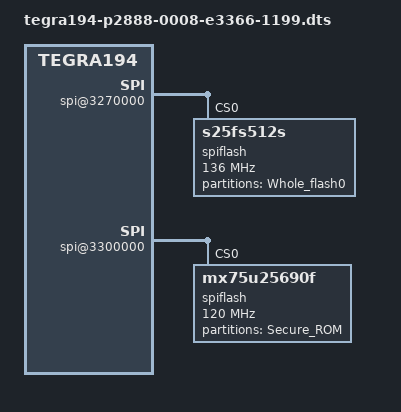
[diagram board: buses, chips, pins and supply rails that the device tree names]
/*
 * Top level DTS file for CVM:P2888-0008 and CVB:E3366-1199
 *
 * Copyright (c) 2020, NVIDIA CORPORATION.  All rights reserved.
 *
 * This program is free software; you can redistribute it and/or modify
 * it under the terms of the GNU General Public License as published by
 * the Free Software Foundation; version 2 of the License.
 *
 * This program is distributed in the hope that it will be useful, but WITHOUT
 * ANY WARRANTY; without even the implied warranty of MERCHANTABILITY or
 * FITNESS FOR A PARTICULAR PURPOSE.  See the GNU General Public License for
 * more details.
 */

#include "../../galen/kernel-dts/tegra194-p2888-0001-e3366-1199.dts"

/ {
	nvidia,dtsfilename = __FILE__;
	nvidia,dtbbuildtime = __DATE__, __TIME__;
	nvidia,fastboot-usb-vid = <0x0955>;
	nvidia,fastboot-usb-pid = <0xee1e>;

	compatible = "nvidia,jetson-xavier-industrial", "nvidia,tegra194";

	/* QSPI flash S25FS512SFABHB210 is controlled by qspi0 */
	spi@3270000 {
		spi-max-frequency = <136000000>;
		status = "okay";
		prod-settings {
			#prod-cells = <3>;
			prod {
				prod = <0x04 0x000000ff 0x10>;
			};
		};
		/* QSPI NOR */
		spiflash@0 {
			#address-cells = <1>;
			#size-cells = <1>;
			compatible = "s25fs512s";
			reg = <0>;
			spi-max-frequency = <136000000>;
			partition@0 {
				label = "Whole_flash0";
				reg = <0x00000000 0x4000000>;	/* size of QSPI-NOR 64MB == 512Mb */
			};
			controller-data {
				nvidia,x1-len-limit = <16>;
				nvidia,x1-bus-speed = <136000000>; /* In Mhz */
				nvidia,x1-dymmy-cycle = <8>;
				nvidia,x4-bus-speed = <136000000>;
				nvidia,x4-dymmy-cycle = <8>;
				nvidia,x4-is-ddr=<0>;
				nvidia,ctrl-bus-clk-ratio = <1>;
			};
		};
	};
	spi@3300000 {
		spi-max-frequency = <120000000>;
		status = "okay";
		prod-settings {
			#prod-cells = <3>;
			prod {
				prod = <0x04 0x000000ff 0x10>;
			};
		};
		/* QSPI NOR */
		spiflash@0 {
			#address-cells = <1>;
			#size-cells = <1>;
			compatible = "mx75u25690f";
			reg = <0>;
			spi-max-frequency = <120000000>;
			partition@0 {
				label = "Secure_ROM";
				reg = <0x00000000 0x2000000>;	/* size of QSPI-NOR 32MB == 256Mb */
			};
			controller-data {
				nvidia,x1-len-limit = <16>;
				nvidia,x1-bus-speed = <120000000>; /* In Mhz */
				nvidia,x1-dymmy-cycle = <8>;
				nvidia,x4-bus-speed = <120000000>;
				nvidia,x4-dymmy-cycle = <8>;
				nvidia,x4-is-ddr=<0>;
				nvidia,ctrl-bus-clk-ratio = <1>;
			};
		};
	};
};
